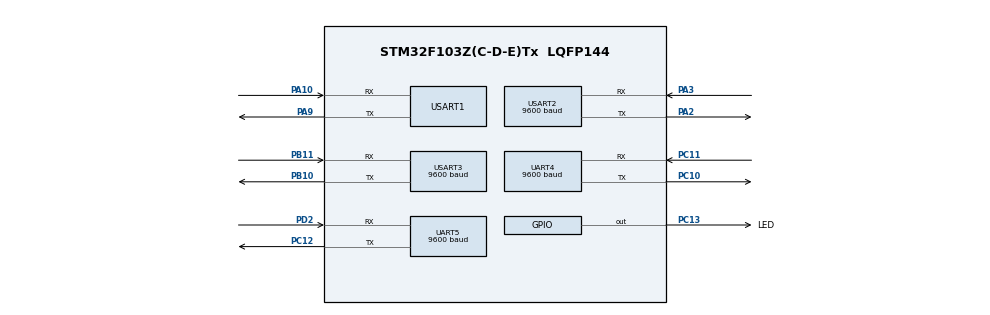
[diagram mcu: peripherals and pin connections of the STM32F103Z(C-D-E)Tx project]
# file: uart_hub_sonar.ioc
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Mcu.Family=STM32F1
Mcu.Name=STM32F103Z(C-D-E)Tx
Mcu.Package=LQFP144
NVIC.PriorityGroup=NVIC_PRIORITYGROUP_4
NVIC.UART4_IRQn=true\:0\:0\:false\:false\:true\:true\:true
NVIC.UART5_IRQn=true\:0\:0\:false\:false\:true\:true\:true
NVIC.USART2_IRQn=true\:0\:0\:false\:false\:true\:true\:true
NVIC.USART3_IRQn=true\:0\:0\:false\:false\:true\:true\:true
PA10.Mode=Asynchronous
PA10.Signal=USART1_RX
PA2.Mode=Asynchronous
PA2.Signal=USART2_TX
PA3.Mode=Asynchronous
PA3.Signal=USART2_RX
PA9.Mode=Asynchronous
PA9.Signal=USART1_TX
PB10.Mode=Asynchronous
PB10.Signal=USART3_TX
PB11.Mode=Asynchronous
PB11.Signal=USART3_RX
PC10.Mode=Asynchronous
PC10.Signal=UART4_TX
PC11.Mode=Asynchronous
PC11.Signal=UART4_RX
PC12.Mode=Asynchronous
PC12.Signal=UART5_TX
PC13-TAMPER-RTC.GPIO_Label=LED
PC13-TAMPER-RTC.Signal=GPIO_Output
PD2.Mode=Asynchronous
PD2.Signal=UART5_RX
ProjectManager.HeapSize=0x200
ProjectManager.StackSize=0x400
ProjectManager.TargetToolchain=MDK-ARM V5
RCC.APB1Freq_Value=8000000
RCC.APB2Freq_Value=8000000
UART4.BaudRate=9600
UART4.VirtualMode=Asynchronous
UART5.BaudRate=9600
UART5.VirtualMode=Asynchronous
USART1.VirtualMode=VM_ASYNC
USART2.BaudRate=9600
USART2.VirtualMode=VM_ASYNC
USART3.BaudRate=9600
USART3.VirtualMode=VM_ASYNC
VP_SYS_VS_ND.Mode=No_Debug
board=custom

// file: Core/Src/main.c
/* USER CODE BEGIN Header */
/**
  ******************************************************************************
  * @file           : main.c
  * @brief          : Main program body
  ******************************************************************************
  * @attention
  *
  * <h2><center>&copy; Copyright (c) 2020 STMicroelectronics.
  * All rights reserved.</center></h2>
  *
  * This software component is licensed by ST under BSD 3-Clause license,
  * the "License"; You may not use this file except in compliance with the
  * License. You may obtain a copy of the License at:
  *                        opensource.org/licenses/BSD-3-Clause
  *
  ******************************************************************************
  */
/* USER CODE END Header */

#include "main.h"
#include "usart.h"
#include "gpio.h"

/* USER CODE BEGIN PV */
uint8_t uart_send2[2];
uint8_t uart_send3[2];
uint8_t uart_send4[2];
uint8_t uart_send5[2];

/* USER CODE END PV */

void SystemClock_Config(void);

int main(void)
{
  /* USER CODE BEGIN 1 */
		uint8_t send_head[2];
		send_head[0] = 0xfe;
		send_head[1] = 0xef;
		uint8_t send_tail[2];
		send_tail[0] = 0xee;
		send_tail[1] = 0xff;

  /* USER CODE END 1 */

  /* MCU Configuration--------------------------------------------------------*/

  /* Reset of all peripherals, Initializes the Flash interface and the Systick. */
  HAL_Init();

  /* Configure the system clock */
  SystemClock_Config();

  /* Initialize all configured peripherals */
  MX_GPIO_Init();
  MX_USART1_UART_Init();
  MX_UART4_Init();
  MX_UART5_Init();
  MX_USART2_UART_Init();
  MX_USART3_UART_Init();
  /* USER CODE BEGIN 2 */
	HAL_UART_Receive_IT(&huart2, uart_data2, 4);
	HAL_UART_Receive_IT(&huart3, uart_data3, 4);
	HAL_UART_Receive_IT(&huart4, uart_data4, 4);
	HAL_UART_Receive_IT(&huart5, uart_data5, 4);

  /* USER CODE END 2 */

  /* Infinite loop */
  while (1)
  {
		HAL_Delay(50);
		HAL_UART_Transmit(&huart1, send_head, 2, 10);
		HAL_UART_Transmit(&huart1, uart_send2, 2, 10);
		HAL_UART_Transmit(&huart1, uart_send3, 2, 10);
		HAL_UART_Transmit(&huart1, uart_send4, 2, 10);
		HAL_UART_Transmit(&huart1, uart_send5, 2, 10);
		HAL_UART_Transmit(&huart1, send_tail, 2, 10);

  }
}

void SystemClock_Config(void)
{
  RCC_OscInitTypeDef RCC_OscInitStruct = {0};
  RCC_ClkInitTypeDef RCC_ClkInitStruct = {0};

  /** Initializes the CPU, AHB and APB busses clocks
  */
  RCC_OscInitStruct.OscillatorType = RCC_OSCILLATORTYPE_HSI;
  RCC_OscInitStruct.HSIState = RCC_HSI_ON;
  RCC_OscInitStruct.HSICalibrationValue = RCC_HSICALIBRATION_DEFAULT;
  RCC_OscInitStruct.PLL.PLLState = RCC_PLL_NONE;
  if (HAL_RCC_OscConfig(&RCC_OscInitStruct) != HAL_OK)
  {
    Error_Handler();
  }
  /** Initializes the CPU, AHB and APB busses clocks
  */
  RCC_ClkInitStruct.ClockType = RCC_CLOCKTYPE_HCLK|RCC_CLOCKTYPE_SYSCLK
                              |RCC_CLOCKTYPE_PCLK1|RCC_CLOCKTYPE_PCLK2;
  RCC_ClkInitStruct.SYSCLKSource = RCC_SYSCLKSOURCE_HSI;
  RCC_ClkInitStruct.AHBCLKDivider = RCC_SYSCLK_DIV1;
  RCC_ClkInitStruct.APB1CLKDivider = RCC_HCLK_DIV1;
  RCC_ClkInitStruct.APB2CLKDivider = RCC_HCLK_DIV1;

  if (HAL_RCC_ClockConfig(&RCC_ClkInitStruct, FLASH_LATENCY_0) != HAL_OK)
  {
    Error_Handler();
  }
}

/* USER CODE BEGIN 4 */
void HAL_UART_RxCpltCallback(UART_HandleTypeDef *huart)
{
	if (huart->Instance == USART2)
	{
		if (uart_data2[0] == 0xFF  )
		{
			uart_send2[0] = uart_data2[1];
			uart_send2[1] = uart_data2[2];
		}
		HAL_UART_Receive_IT(&huart2, uart_data2, 4);
	}else if (huart->Instance == USART3)
	{
		if (uart_data3[0] == 0xFF  )
		{
			uart_send3[0] = uart_data3[1];
			uart_send3[1] = uart_data3[2];
		}
		HAL_UART_Receive_IT(&huart3, uart_data3, 4);
	}else if (huart->Instance == UART4)
	{
		if (uart_data4[0] == 0xFF  )
		{
			uart_send4[0] = uart_data4[1];
			uart_send4[1] = uart_data4[2];
		}
		HAL_UART_Receive_IT(&huart4, uart_data4, 4);
	}else if (huart->Instance == UART5)
	{
		if (uart_data5[0] == 0xFF  )
		{
			uart_send5[0] = uart_data5[1];
			uart_send5[1] = uart_data5[2];
		}
		HAL_UART_Receive_IT(&huart5, uart_data5, 4);
	}
}

/* USER CODE END 4 */

void Error_Handler(void)
{
}

/************************ (C) COPYRIGHT STMicroelectronics *****END OF FILE****/
